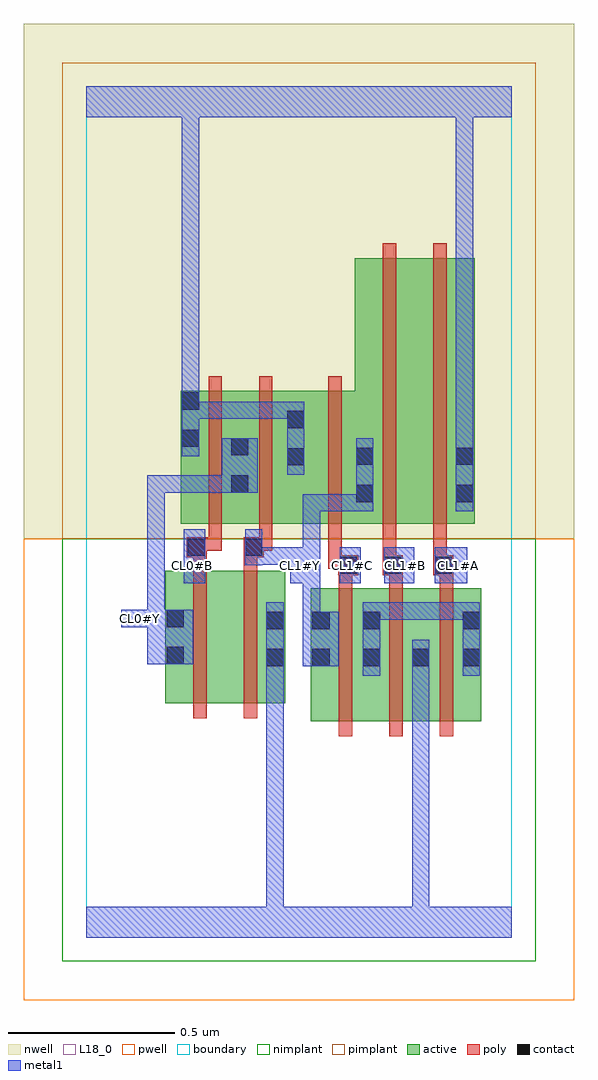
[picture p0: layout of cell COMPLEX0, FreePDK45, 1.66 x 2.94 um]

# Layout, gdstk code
import gdstk
lib = gdstk.Library(unit=1e-6, precision=1e-09)
def R(c, l, rs):  # rectangles x0, y0, x1, y1
    for r in rs: c.add(gdstk.rectangle(r[:2], r[2:], *l))
def A(c, l, x, y, w, h, nx, ny, dx, dy):  # array of equal rectangles
    R(c, l, [(x+i*dx, y+j*dy, x+i*dx+w, y+j*dy+h) for i in range(nx) for j in range(ny)])
active = (1, 0)
pwell = (2, 0)
nwell = (3, 0)
nimplant = (4, 0)
pimplant = (5, 0)
poly = (9, 0)
contact = (10, 0)
metal1 = (11, 0)
L18_0 = (18, 0)
boundary = (235, 0)

complex0 = lib.new_cell('COMPLEX0')
R(complex0, active, [(0.676,0.65,0.736,1.05), (0.676,0.65,0.888,1.05), (0.828,0.65,0.888,1.05), (0.828,0.65,1.036,1.05), (0.976,0.65,1.188,1.05), (0.976,0.65,1.036,0.93), (1.128,0.65,1.188,1.05), (0.238,0.704,0.298,1.104), (0.238,0.704,0.418,1.104), (0.418,0.704,0.598,1.104), (0.538,0.704,0.598,1.104), (0.284,1.244,0.344,1.644), (0.284,1.244,0.492,1.644), (0.432,1.244,0.66,1.644), (0.6,1.244,0.868,1.644), (0.808,1.244,0.988,2.044), (0.988,1.244,1.168,2.044), (1.108,1.244,1.168,2.044), (0.808,1.306,0.868,1.644), (0.432,1.334,0.492,1.644), (0.6,1.416,0.66,1.644)])
R(complex0, pwell, [(-0.188,-0.188,1.468,1.2)])
R(complex0, nwell, [(-0.188,1.2,1.468,2.748)])
R(complex0, nimplant, [(-0.072,-0.072,1.352,1.2)])
R(complex0, pimplant, [(-0.072,1.2,1.352,2.632)])
A(complex0, poly, 0.76, 0.606, 0.04, 0.488, 3, 1, 0.152, 0)
A(complex0, poly, 0.76, 1.054, 0.04, 0.076, 3, 1, 0.152, 0)
R(complex0, poly, [(0.322,0.66,0.362,1.184), (0.474,0.66,0.514,1.148), (0.758,1.09,0.818,1.15), (0.892,1.09,0.952,1.15), (1.044,1.09,1.104,1.15), (1.064,1.09,1.104,1.13), (1.064,1.09,1.104,1.13), (0.474,1.108,0.514,1.184), (0.728,1.11,0.768,1.24), (0.728,1.11,0.798,1.15), (0.758,1.11,0.798,1.15), (0.892,1.11,0.932,1.24), (0.892,1.11,0.932,1.15), (0.892,1.11,0.932,1.15), (1.044,1.11,1.084,1.24), (0.302,1.144,0.362,1.204), (0.322,1.144,0.362,1.184), (0.474,1.144,0.534,1.204), (0.322,1.164,0.362,1.204), (0.322,1.164,0.408,1.204), (0.368,1.164,0.408,1.24), (0.494,1.164,0.534,1.204), (0.494,1.164,0.56,1.204), (0.52,1.164,0.56,1.24), (0.368,1.2,0.408,1.688), (0.52,1.2,0.56,1.688), (0.728,1.2,0.768,1.688), (0.892,1.2,0.932,2.088), (1.044,1.2,1.084,2.088)])
R(complex0, contact, [(0.542,0.816,0.594,0.868), (0.68,0.816,0.732,0.868), (0.832,0.816,0.884,0.868), (0.98,0.816,1.032,0.868), (1.132,0.816,1.184,0.868), (0.242,0.822,0.294,0.874), (0.542,0.928,0.594,0.98), (0.68,0.928,0.732,0.98), (0.832,0.928,0.884,0.98), (1.132,0.928,1.184,0.98), (0.242,0.934,0.294,0.986), (0.762,1.094,0.814,1.146), (0.896,1.094,0.948,1.146), (1.048,1.094,1.1,1.146), (0.306,1.148,0.358,1.2), (0.478,1.148,0.53,1.2), (0.812,1.31,0.864,1.362), (1.112,1.31,1.164,1.362), (0.436,1.338,0.488,1.39), (0.604,1.42,0.656,1.472), (0.812,1.422,0.864,1.474), (1.112,1.422,1.164,1.474), (0.436,1.45,0.488,1.502), (0.288,1.476,0.34,1.528), (0.604,1.532,0.656,1.584), (0.288,1.588,0.34,1.64)])
R(complex0, metal1, [(0,0,1.28,0.092), (0.542,0.04,0.594,0.092), (0.542,0.04,0.594,0.092), (0.542,0.04,0.594,0.092), (0.542,0.04,0.594,0.092), (0.542,0.04,0.594,0.092), (0.542,0.04,0.594,0.092), (0.542,0.04,0.594,0.092), (0.542,0.04,0.594,0.092), (0.542,0.04,0.594,0.092), (0.542,0.04,0.594,0.092), (0.542,0.04,0.594,0.84), (0.98,0.04,1.032,0.092), (0.98,0.04,1.032,0.092), (0.98,0.04,1.032,0.092), (0.98,0.04,1.032,0.092), (0.98,0.04,1.032,0.092), (0.98,0.04,1.032,0.092), (0.98,0.04,1.032,0.092), (0.98,0.04,1.032,0.092), (0.98,0.04,1.032,0.092), (0.98,0.04,1.032,0.092), (0.98,0.04,1.032,0.092), (0.98,0.04,1.032,0.092), (0.98,0.04,1.032,0.84), (0.542,0.788,0.594,0.84), (0.542,0.788,0.594,0.84), (0.542,0.788,0.594,1.008), (0.832,0.788,0.884,1.008), (0.98,0.788,1.032,0.896), (1.132,0.788,1.184,1.008), (0.652,0.816,0.76,0.98), (0.184,0.822,0.322,0.986), (0.652,0.928,0.704,1.118), (0.106,0.934,0.236,0.986), (0.184,0.934,0.236,0.986), (0.184,0.934,0.236,1.39), (0.832,0.956,0.884,1.008), (0.832,0.956,0.884,1.008), (0.832,0.956,1.054,1.008), (1.002,0.956,1.054,1.008), (1.002,0.956,1.054,1.008), (1.002,0.956,1.054,1.008), (1.002,0.956,1.184,1.008), (0.294,1.066,0.358,1.228), (0.614,1.066,0.704,1.174), (0.762,1.066,0.826,1.174), (0.896,1.066,0.986,1.174), (1.048,1.066,1.146,1.174), (0.478,1.12,0.53,1.228), (0.478,1.122,0.664,1.174), (0.612,1.122,0.664,1.174), (0.612,1.122,0.666,1.174), (0.652,1.122,0.704,1.174), (0.652,1.122,0.704,1.174), (0.652,1.122,0.704,1.334), (0.652,1.282,0.704,1.334), (0.652,1.282,0.774,1.334), (0.722,1.282,0.774,1.334), (0.722,1.282,0.864,1.334), (0.812,1.282,0.864,1.502), (1.112,1.282,1.164,1.502), (0.184,1.338,0.236,1.39), (0.184,1.338,0.236,1.39), (0.184,1.338,0.236,1.39), (0.184,1.338,0.236,1.39), (0.184,1.338,0.236,1.39), (0.184,1.338,0.46,1.39), (0.408,1.338,0.516,1.502), (0.604,1.392,0.656,1.612), (0.288,1.448,0.34,1.668), (1.112,1.45,1.164,1.502), (1.112,1.45,1.164,1.502), (1.112,1.45,1.164,2.52), (0.288,1.56,0.34,1.612), (0.288,1.56,0.34,1.612), (0.288,1.56,0.45,1.612), (0.398,1.56,0.45,1.612), (0.398,1.56,0.45,1.612), (0.398,1.56,0.45,1.612), (0.398,1.56,0.656,1.612), (0.288,1.616,0.34,1.668), (0.288,1.616,0.34,1.668), (0.288,1.616,0.34,1.668), (0.288,1.616,0.34,1.668), (0.288,1.616,0.34,1.668), (0.288,1.616,0.34,1.668), (0.288,1.616,0.34,1.668), (0.288,1.616,0.34,1.668), (0.288,1.616,0.34,1.668), (0.288,1.616,0.34,1.668), (0.288,1.616,0.34,2.52), (0,2.468,1.28,2.56), (0.288,2.468,0.34,2.52), (0.288,2.468,0.34,2.52), (0.288,2.468,0.34,2.52), (0.288,2.468,0.34,2.52), (0.288,2.468,0.34,2.52), (0.288,2.468,0.34,2.52), (1.112,2.468,1.164,2.52), (1.112,2.468,1.164,2.52), (1.112,2.468,1.164,2.52), (1.112,2.468,1.164,2.52), (1.112,2.468,1.164,2.52), (1.112,2.468,1.164,2.52)])
A(complex0, L18_0, 0.614, 1.094, 0.052, 0.052, 4, 1, 0.16, 0)
R(complex0, L18_0, [(0,0,1.28,0.092), (0.542,0.04,0.594,0.092), (0.542,0.04,0.594,0.092), (0.542,0.04,0.594,0.092), (0.542,0.04,0.594,0.092), (0.542,0.04,0.594,0.092), (0.542,0.04,0.594,0.092), (0.542,0.04,0.594,0.092), (0.542,0.04,0.594,0.092), (0.542,0.04,0.594,0.092), (0.542,0.04,0.594,0.092), (0.542,0.04,0.594,0.84), (0.98,0.04,1.032,0.092), (0.98,0.04,1.032,0.092), (0.98,0.04,1.032,0.092), (0.98,0.04,1.032,0.092), (0.98,0.04,1.032,0.092), (0.98,0.04,1.032,0.092), (0.98,0.04,1.032,0.092), (0.98,0.04,1.032,0.092), (0.98,0.04,1.032,0.092), (0.98,0.04,1.032,0.092), (0.98,0.04,1.032,0.092), (0.98,0.04,1.032,0.092), (0.98,0.04,1.032,0.84), (0.542,0.788,0.594,0.84), (0.542,0.788,0.594,0.84), (0.542,0.788,0.594,1.008), (0.98,0.788,1.032,0.896), (0.652,0.816,0.76,0.98), (0.184,0.822,0.322,0.986), (0.652,0.928,0.704,1.118), (0.106,0.934,0.236,0.986), (0.134,0.934,0.186,0.986), (0.184,0.934,0.236,0.986), (0.184,0.934,0.236,1.39), (0.294,1.066,0.358,1.228), (0.614,1.066,0.704,1.174), (0.762,1.066,0.826,1.174), (0.896,1.066,0.986,1.174), (1.048,1.066,1.146,1.174), (0.294,1.094,0.346,1.146), (0.478,1.12,0.53,1.228), (0.478,1.122,0.664,1.174), (0.612,1.122,0.664,1.174), (0.612,1.122,0.666,1.174), (0.652,1.122,0.704,1.174), (0.652,1.122,0.704,1.174), (0.652,1.122,0.704,1.334), (0.652,1.282,0.704,1.334), (0.652,1.282,0.774,1.334), (0.722,1.282,0.774,1.334), (0.722,1.282,0.864,1.334), (0.812,1.282,0.864,1.502), (1.112,1.282,1.164,1.502), (0.184,1.338,0.236,1.39), (0.184,1.338,0.236,1.39), (0.184,1.338,0.236,1.39), (0.184,1.338,0.236,1.39), (0.184,1.338,0.236,1.39), (0.184,1.338,0.46,1.39), (0.408,1.338,0.516,1.502), (0.604,1.392,0.656,1.612), (0.288,1.448,0.34,1.668), (1.112,1.45,1.164,1.502), (1.112,1.45,1.164,1.502), (1.112,1.45,1.164,2.52), (0.288,1.56,0.34,1.612), (0.288,1.56,0.34,1.612), (0.288,1.56,0.45,1.612), (0.398,1.56,0.45,1.612), (0.398,1.56,0.45,1.612), (0.398,1.56,0.45,1.612), (0.398,1.56,0.656,1.612), (0.288,1.616,0.34,1.668), (0.288,1.616,0.34,1.668), (0.288,1.616,0.34,1.668), (0.288,1.616,0.34,1.668), (0.288,1.616,0.34,1.668), (0.288,1.616,0.34,1.668), (0.288,1.616,0.34,1.668), (0.288,1.616,0.34,1.668), (0.288,1.616,0.34,1.668), (0.288,1.616,0.34,1.668), (0.288,1.616,0.34,2.52), (0,2.468,1.28,2.56), (0.288,2.468,0.34,2.52), (0.288,2.468,0.34,2.52), (0.288,2.468,0.34,2.52), (0.288,2.468,0.34,2.52), (0.288,2.468,0.34,2.52), (0.288,2.468,0.34,2.52), (1.112,2.468,1.164,2.52), (1.112,2.468,1.164,2.52), (1.112,2.468,1.164,2.52), (1.112,2.468,1.164,2.52), (1.112,2.468,1.164,2.52), (1.112,2.468,1.164,2.52)])
R(complex0, boundary, [(0,0,1.28,2.56)])
complex0.add(gdstk.Label('CL0#B', (0.32,1.12), layer=11, texttype=0))
complex0.add(gdstk.Label('CL0#Y', (0.16,0.96), layer=11, texttype=0))
complex0.add(gdstk.Label('CL1#A', (1.12,1.12), layer=11, texttype=0))
complex0.add(gdstk.Label('CL1#B', (0.96,1.12), layer=11, texttype=0))
complex0.add(gdstk.Label('CL1#C', (0.8,1.12), layer=11, texttype=0))
complex0.add(gdstk.Label('CL1#Y', (0.64,1.12), layer=11, texttype=0))

lib.write_gds('COMPLEX0.gds')
